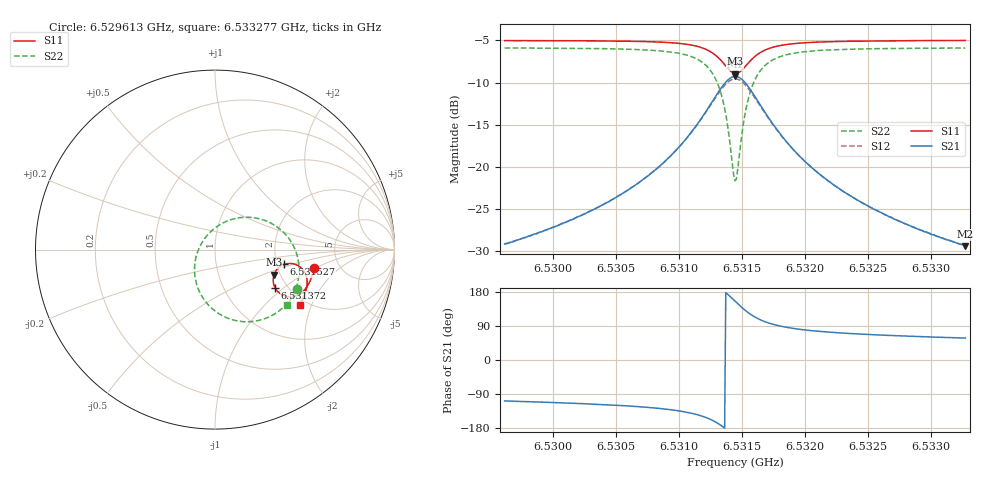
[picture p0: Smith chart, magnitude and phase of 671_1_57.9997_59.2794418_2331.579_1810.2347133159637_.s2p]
#  HZ  S  RI  R  50.00
! Rohde & Schwarz Vector Network Analyzer
! Rohde-Schwarz,ZNB20-2Port,1311601062101988,3.16
! Created: UTC 3/21/2024, 1:20:21 AM
! freq[Hz]  re:S11  im:S11  re:S21  im:S21  re:S12  im:S12  re:S22  im:S22
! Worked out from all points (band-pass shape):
!   401 points, 6.529613 GHz to 6.533277 GHz, reference 50 ohm
!   highest |S21| = -9.28 dB at 6.531445 GHz (marker M1); lowest = -29.4 dB at 6.533277 GHz (marker M2)
!   |S21| within 3 dB of the highest: 6.531264 GHz to 6.53163 GHz (366.1 kHz wide, 0.00561 % of centre)
!   lowest |S11| = -8.9 dB at 6.531445 GHz (marker M3), VSWR 2.11, Z = 92.8 - j29.8 ohm
!   |S11| at or under -10 dB: nowhere
!   |S22| runs from -21.7 to -5.9 dB; largest |S21 - S12| = 0.015
!   S11 on the Smith chart (normalised r, x): 6.529613 GHz: 3.24, -0.96; 6.531372 GHz: 1.73, -0.87; 6.531527 GHz: 2.20, -0.43; 6.533277 GHz: 1.83, -1.64
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6.5296133e9  0.551 -0.1016  -0.0108 -0.033  -0.0115 -0.0329  0.4578 -0.2187
6.5302269e9  0.5375 -0.1536  -0.0219 -0.0467  -0.0231 -0.0461  0.4213 -0.2768
6.5305841e9  0.5234 -0.1884  -0.0372 -0.0616  -0.0389 -0.0606  0.382 -0.3207
6.5308405e9  0.505 -0.2177  -0.061 -0.0791  -0.0636 -0.0772  0.3286 -0.3607
6.5310512e9  0.4743 -0.2461  -0.1063 -0.0983  -0.1095 -0.0944  0.2382 -0.3958
6.5312161e9  0.4213 -0.263  -0.189 -0.1004  -0.1908 -0.092  0.0891 -0.3885
6.5313077e9  0.3706 -0.2503  -0.2666 -0.0618  -0.2638 -0.0504  -0.0373 -0.3079
6.5313443e9  0.3486 -0.2324  -0.2988 -0.0252  -0.2925 -0.0138  -0.0837 -0.2405
6.5313718e9  0.3347 -0.2126  -0.3177 0.0127  -0.3085 0.0233  -0.1072 -0.1739
6.5314267e9  0.3246 -0.159  -0.3235 0.1092  -0.3102 0.1142  -0.098 -0.015
6.531445e9  0.3288 -0.14  -0.3127 0.1423  -0.2991 0.1449  -0.0741 0.0365
6.5314634e9  0.3371 -0.1221  -0.2954 0.1725  -0.2824 0.1729  -0.0406 0.0828
6.5315091e9  0.3702 -0.0896  -0.2331 0.2269  -0.2233 0.2232  0.0704 0.1603
6.5315275e9  0.3857 -0.0823  -0.205 0.2385  -0.1967 0.234  0.1185 0.1744
6.5315549e9  0.409 -0.0774  -0.1643 0.2463  -0.1582 0.2413  0.1872 0.1804
6.5315916e9  0.4365 -0.0791  -0.1168 0.2431  -0.1129 0.2387  0.2658 0.1665
6.5316832e9  0.4816 -0.1028  -0.0406 0.2066  -0.0389 0.2042  0.3886 0.0891
6.5318205e9  0.5071 -0.1427  0.00415 0.1511  0.00527 0.1501  0.4539 -0.0207
6.5320587e9  0.5135 -0.1903  0.0215 0.0959  0.0228 0.0955  0.4681 -0.1327
6.5323151e9  0.5078 -0.2241  0.0232 0.0668  0.0243 0.0664  0.4567 -0.1976
6.5326723e9  0.4954 -0.2591  0.0215 0.0456  0.0222 0.0453  0.4356 -0.2521
6.5332768e9  0.4711 -0.3061  0.0179 0.0286  0.0187 0.0284  0.4007 -0.3098
